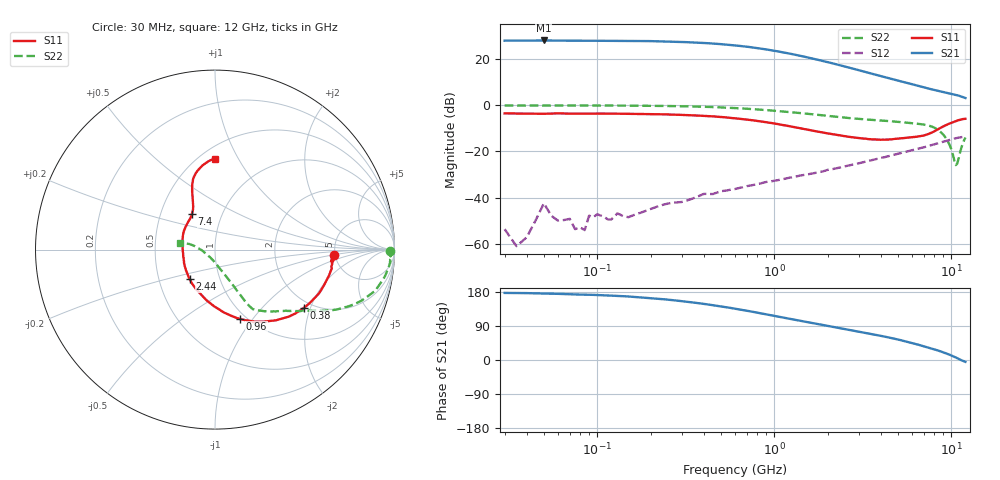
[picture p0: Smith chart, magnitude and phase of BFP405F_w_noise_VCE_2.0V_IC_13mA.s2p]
! Infineon Technologies  Discrete & RF Semiconductors
! BFP405F
! VCE =  2.0 V,  IC =  13 mA
! Common Emitter S-Parameters:  Nov 2015
# GHz  S  MA  R  50
!  f  S11  S21  S12  S22
! GHz  MAG  ANG  MAG  ANG  MAG  ANG  MAG  ANG
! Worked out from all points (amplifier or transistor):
!   239 points, 30 MHz to 12 GHz, reference 50 ohm
!   highest |S21| = 27.9 dB at 50 MHz (marker M1)
!   |S21| within 3 dB of that: start of sweep to 750.4 MHz
!   unconditionally stable (mu >= 1): 2.037 GHz to end of sweep
!   at 300 MHz: K = 0.25, MSG = 34.6 dB, |S12| = -41.8 dB
!   at 1.88 GHz: K = 0.98, MSG = 23.8 dB, |S12| = -28.6 dB
!   at 12 GHz: K = 1.39, MAG = 4.6 dB, |S12| = -13.5 dB
!   lowest NFmin = 1.86 dB at 450 MHz
!   S11 on the Smith chart (normalised r, x): 30 MHz: 4.87, -0.48; 380 MHz: 1.81, -1.80; 960 MHz: 0.94, -0.87; 2.44 GHz: 0.72, -0.25; 7.4 GHz: 0.72, +0.30; 12 GHz: 0.59, +0.80
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0.03  0.6623 -2.4  24.63 177.0  0.0021 35.8  0.9775 -0.6
0.035  0.6588 -2.9  24.66 176.7  0.0009 76.7  0.9762 -0.7
0.05  0.6499 -5.8  24.88 175.2  0.0076 15.0  0.979 -2.2
0.085  0.6565 -7.6  24.55 172.4  0.002 98.0  0.9807 -2.8
0.09  0.6549 -8.3  24.58 172.3  0.0041 64.7  0.9769 -3.2
0.145  0.6497 -13.4  24.37 168.1  0.0039 85.0  0.9747 -5.3
0.24  0.6314 -21.7  23.64 160.1  0.0072 83.7  0.9589 -8.8
0.3  0.6148 -26.6  23.12 155.3  0.0081 79.6  0.9453 -10.8
0.38  0.5918 -33.2  22.19 149.5  0.0111 77.6  0.9275 -13.5
0.46  0.5679 -39.3  21.23 144.0  0.0124 76.9  0.9043 -15.8
0.6  0.5196 -49.3  19.45 135.3  0.0154 73.7  0.8631 -19.3
0.7  0.4872 -55.4  18.26 129.9  0.0178 71.6  0.8352 -21.3
0.96  0.4111 -70.0  15.31 118.1  0.0226 69.4  0.7655 -25.6
1.3  0.3328 -86.3  12.33 106.2  0.0283 67.2  0.692 -29.5
1.64  0.2818 -100.7  10.16 97.5  0.0333 67.1  0.6348 -32.5
2.44  0.2158 -130.9  6.995 82.6  0.0465 66.0  0.5417 -39.1
3.3  0.1882 -156.4  5.151 71.1  0.0602 64.3  0.4891 -44.5
4.5  0.1824 174.6  3.752 58.8  0.0806 60.3  0.4505 -50.0
7.4  0.2367 123.0  2.285 32.9  0.1307 48.5  0.3625 -58.9
9.2  0.3615 110.6  1.88 18.6  0.1659 39.3  0.2067 -64.0
10.6  0.4508 102.4  1.663 6.6  0.1931 30.6  0.0507 -122.9
12  0.5061 90.3  1.424 -4.9  0.2108 22.4  0.1998 168.9
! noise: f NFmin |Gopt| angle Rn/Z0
0.45  1.86  0.14  4  0.33
0.9  1.88  0.13  7  0.32
1.5  1.93  0.11  11  0.22
1.9  1.96  0.1  17  0.27
2.4  2.11  0.08  24  0.33
3  2.19  0.07  32  0.36
3.5  2.24  0.04  37  0.47
4.5  2.43  0.04  -69  0.18
5.5  2.69  0.13  -87  0.06
